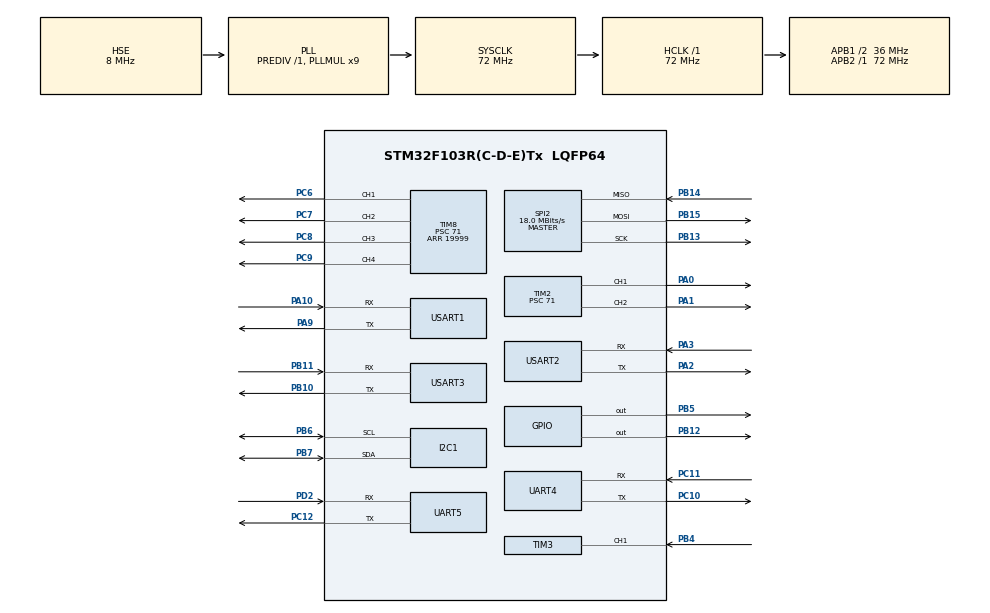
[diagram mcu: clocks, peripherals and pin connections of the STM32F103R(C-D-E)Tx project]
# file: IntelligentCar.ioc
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Mcu.Family=STM32F1
Mcu.Name=STM32F103R(C-D-E)Tx
Mcu.Package=LQFP64
NVIC.PriorityGroup=NVIC_PRIORITYGROUP_4
NVIC.USART2_IRQn=true\:0\:0\:false\:false\:true\:true\:true\:true
NVIC.USART3_IRQn=true\:0\:0\:false\:false\:true\:true\:true\:true
PA0-WKUP.Signal=S_TIM2_CH1_ETR
PA1.Signal=S_TIM2_CH2
PA10.Mode=Asynchronous
PA10.Signal=USART1_RX
PA13.Mode=Serial_Wire
PA13.Signal=SYS_JTMS-SWDIO
PA14.Mode=Serial_Wire
PA14.Signal=SYS_JTCK-SWCLK
PA2.Mode=Asynchronous
PA2.Signal=USART2_TX
PA3.Mode=Asynchronous
PA3.Signal=USART2_RX
PA9.Mode=Asynchronous
PA9.Signal=USART1_TX
PB10.Mode=Asynchronous
PB10.Signal=USART3_TX
PB11.Mode=Asynchronous
PB11.Signal=USART3_RX
PB12.Signal=GPIO_Output
PB13.Mode=Full_Duplex_Master
PB13.Signal=SPI2_SCK
PB14.Mode=Full_Duplex_Master
PB14.Signal=SPI2_MISO
PB15.Mode=Full_Duplex_Master
PB15.Signal=SPI2_MOSI
PB4.Signal=S_TIM3_CH1
PB5.Signal=GPIO_Output
PB6.Mode=I2C
PB6.Signal=I2C1_SCL
PB7.Mode=I2C
PB7.Signal=I2C1_SDA
PC10.Mode=Asynchronous
PC10.Signal=UART4_TX
PC11.Mode=Asynchronous
PC11.Signal=UART4_RX
PC12.Mode=Asynchronous
PC12.Signal=UART5_TX
PC6.Signal=S_TIM8_CH1
PC7.Signal=S_TIM8_CH2
PC8.Signal=S_TIM8_CH3
PC9.Signal=S_TIM8_CH4
PD0-OSC_IN.Mode=HSE-External-Oscillator
PD0-OSC_IN.Signal=RCC_OSC_IN
PD1-OSC_OUT.Mode=HSE-External-Oscillator
PD1-OSC_OUT.Signal=RCC_OSC_OUT
PD2.Mode=Asynchronous
PD2.Signal=UART5_RX
ProjectManager.HeapSize=0x200
ProjectManager.StackSize=0x400
ProjectManager.TargetToolchain=MDK-ARM V5.32
RCC.AHBFreq_Value=72000000
RCC.APB1CLKDivider=RCC_HCLK_DIV2
RCC.APB1Freq_Value=36000000
RCC.APB1TimFreq_Value=72000000
RCC.APB2Freq_Value=72000000
RCC.APB2TimFreq_Value=72000000
RCC.HCLKFreq_Value=72000000
RCC.PLLMUL=RCC_PLL_MUL9
RCC.PLLSourceVirtual=RCC_PLLSOURCE_HSE
RCC.SYSCLKFreq_VALUE=72000000
RCC.SYSCLKSource=RCC_SYSCLKSOURCE_PLLCLK
RCC.USBFreq_Value=72000000
SH.S_TIM2_CH1_ETR.0=TIM2_CH1,PWM Generation1 CH1
SH.S_TIM2_CH2.0=TIM2_CH2,PWM Generation2 CH2
SH.S_TIM3_CH1.0=TIM3_CH1,Input_Capture1_from_TI1
SH.S_TIM8_CH1.0=TIM8_CH1,PWM Generation1 CH1
SH.S_TIM8_CH2.0=TIM8_CH2,PWM Generation2 CH2
SH.S_TIM8_CH3.0=TIM8_CH3,PWM Generation3 CH3
SH.S_TIM8_CH4.0=TIM8_CH4,PWM Generation4 CH4
SPI2.CalculateBaudRate=18.0 MBits/s
SPI2.Direction=SPI_DIRECTION_2LINES
SPI2.Mode=SPI_MODE_MASTER
SPI2.VirtualType=VM_MASTER
TIM2.Channel-PWM\ Generation1\ CH1=TIM_CHANNEL_1
TIM2.Channel-PWM\ Generation2\ CH2=TIM_CHANNEL_2
TIM2.Period=19999
TIM2.Prescaler=71
TIM3.Channel-Input_Capture1_from_TI1=TIM_CHANNEL_1
TIM3.Channel-Input_Capture2_from_TI1_63=TIM_CHANNEL_2
TIM4.Period=99
TIM4.Prescaler=7199
TIM8.Channel-PWM\ Generation1\ CH1=TIM_CHANNEL_1
TIM8.Channel-PWM\ Generation2\ CH2=TIM_CHANNEL_2
TIM8.Channel-PWM\ Generation3\ CH3=TIM_CHANNEL_3
TIM8.Channel-PWM\ Generation4\ CH4=TIM_CHANNEL_4
TIM8.Period=19999
TIM8.Prescaler=71
UART4.VirtualMode=Asynchronous
UART5.VirtualMode=Asynchronous
USART1.VirtualMode=VM_ASYNC
USART2.VirtualMode=VM_ASYNC
USART3.VirtualMode=VM_ASYNC
VP_TIM2_VS_ClockSourceINT.Mode=Internal
VP_TIM3_VS_ClockSourceINT.Mode=Internal
VP_TIM3_VS_indirect_ch1.Mode=Input_Capture2_from_TI1_63
VP_TIM4_VS_ClockSourceINT.Mode=Internal
VP_TIM8_VS_ClockSourceINT.Mode=Internal
board=custom

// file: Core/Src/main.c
/* USER CODE BEGIN Header */
/**
  ******************************************************************************
  实现的功能：1.手姿控制小车运动
             2.按键/摇杆控制机械臂
             3.自动化实现动作组
             4.视觉识别自动搬运

    传感器引脚:
        超声波(Trig PB5 Echo PB4)
    舵机引脚：
        DJ0-PC6
        DJ1-PC7
        DJ2-PC8
        DJ3-PC9
        DJ4-PA0
        DJ5-PA1
    LED引脚：
        LED-PC13  开漏低电平点亮
    通信：
        串口1用作烧录和监听信息   PA9 TX1 PA10 RX1
        串口2用作openmv连接       PA2 TX2 PA3 RX2
        串口3用作蓝牙             PB10 TX3 PB11 RX3
        串口4用作控制总线电机     PC10 TX4 PC11 RX4
        串口5引出备用             PC12 TX5 PD2 RX5
    蓝牙状态：
        PB1

    主频：72M
    单片机型号：STM32F103RCT6
******************************************************************************
**/
/* USER CODE END Header */
#include "main.h"

/* USER CODE BEGIN Includes */
#include <stdio.h>
#include <string.h>
#include "global.h"
#include "uart.h"
#include "readdata.h"
#include "ik.h"
#include "motor.h"
#include "led.h"
#include "servo.h"
#include "mode.h"
#include "ag_config.h"
#include "actiongroup.h"
#include "flash.h"
#include "ultrasonic.h"
/* USER CODE END Includes */

I2C_HandleTypeDef hi2c1;

SPI_HandleTypeDef hspi2;

TIM_HandleTypeDef htim2;
TIM_HandleTypeDef htim3;
TIM_HandleTypeDef htim4;
TIM_HandleTypeDef htim8;

UART_HandleTypeDef huart4;
UART_HandleTypeDef huart5;
UART_HandleTypeDef huart1;
UART_HandleTypeDef huart2;
UART_HandleTypeDef huart3;

void SystemClock_Config(void);
static void MX_GPIO_Init(void);
static void MX_I2C1_Init(void);
static void MX_SPI2_Init(void);
static void MX_TIM2_Init(void);
static void MX_TIM3_Init(void);
static void MX_TIM8_Init(void);
static void MX_UART4_Init(void);
static void MX_UART5_Init(void);
static void MX_USART1_UART_Init(void);
static void MX_USART2_UART_Init(void);
static void MX_USART3_UART_Init(void);
static void MX_TIM4_Init(void);

int main(void)
{

  /* USER CODE BEGIN 1 */
 MODE mode;
  /* USER CODE END 1 */

  /* MCU Configuration--------------------------------------------------------*/

  /* Reset of all peripherals, Initializes the Flash interface and the Systick. */
  HAL_Init();

  /* Configure the system clock */
  SystemClock_Config();

  /* Initialize all configured peripherals */
  MX_GPIO_Init();
  MX_I2C1_Init();
  MX_SPI2_Init();
  MX_TIM2_Init();
  MX_TIM3_Init();
  MX_TIM8_Init();
  MX_UART4_Init();
  MX_UART5_Init();
  MX_USART1_UART_Init();
  MX_USART2_UART_Init();
  MX_USART3_UART_Init();
  MX_TIM4_Init();
  /* USER CODE BEGIN 2 */
  uart_init();
	servo_init();
  ActionGroup_Init();
  Ultrasonic_Init();
  /* USER CODE END 2 */

  /* Infinite loop */
  /* USER CODE BEGIN WHILE */
  while (1)
  {
    if(rxcplt_flag_Phone == 1){
          mode = readmode(RxData_Phone);
          rxcplt_flag_Phone = 0;
          ifrxstart_Phone = 0;

          switch (mode) {
              case mode1:
                  mode1_handle();
                  break;
              case mode2:
                  mode2_handle();
                  break;
              case mode3:
                  mode3_handle();
                  break;
              case mode4:
                  mode4_handle();
                  break;
              default:
                  break;
          }
      }
    /* USER CODE END WHILE */

  }
}

void SystemClock_Config(void)
{
  RCC_OscInitTypeDef RCC_OscInitStruct = {0};
  RCC_ClkInitTypeDef RCC_ClkInitStruct = {0};

  /** Initializes the RCC Oscillators according to the specified parameters
  * in the RCC_OscInitTypeDef structure.
  */
  RCC_OscInitStruct.OscillatorType = RCC_OSCILLATORTYPE_HSE;
  RCC_OscInitStruct.HSEState = RCC_HSE_ON;
  RCC_OscInitStruct.HSEPredivValue = RCC_HSE_PREDIV_DIV1;
  RCC_OscInitStruct.HSIState = RCC_HSI_ON;
  RCC_OscInitStruct.PLL.PLLState = RCC_PLL_ON;
  RCC_OscInitStruct.PLL.PLLSource = RCC_PLLSOURCE_HSE;
  RCC_OscInitStruct.PLL.PLLMUL = RCC_PLL_MUL9;
  if (HAL_RCC_OscConfig(&RCC_OscInitStruct) != HAL_OK)
  {
    Error_Handler();
  }

  /** Initializes the CPU, AHB and APB buses clocks
  */
  RCC_ClkInitStruct.ClockType = RCC_CLOCKTYPE_HCLK|RCC_CLOCKTYPE_SYSCLK
                              |RCC_CLOCKTYPE_PCLK1|RCC_CLOCKTYPE_PCLK2;
  RCC_ClkInitStruct.SYSCLKSource = RCC_SYSCLKSOURCE_PLLCLK;
  RCC_ClkInitStruct.AHBCLKDivider = RCC_SYSCLK_DIV1;
  RCC_ClkInitStruct.APB1CLKDivider = RCC_HCLK_DIV2;
  RCC_ClkInitStruct.APB2CLKDivider = RCC_HCLK_DIV1;

  if (HAL_RCC_ClockConfig(&RCC_ClkInitStruct, FLASH_LATENCY_2) != HAL_OK)
  {
    Error_Handler();
  }
}

static void MX_I2C1_Init(void)
{

  hi2c1.Instance = I2C1;
  hi2c1.Init.ClockSpeed = 100000;
  hi2c1.Init.DutyCycle = I2C_DUTYCYCLE_2;
  hi2c1.Init.OwnAddress1 = 0;
  hi2c1.Init.AddressingMode = I2C_ADDRESSINGMODE_7BIT;
  hi2c1.Init.DualAddressMode = I2C_DUALADDRESS_DISABLE;
  hi2c1.Init.OwnAddress2 = 0;
  hi2c1.Init.GeneralCallMode = I2C_GENERALCALL_DISABLE;
  hi2c1.Init.NoStretchMode = I2C_NOSTRETCH_DISABLE;
  if (HAL_I2C_Init(&hi2c1) != HAL_OK)
  {
    Error_Handler();
  }

}

static void MX_SPI2_Init(void)
{

  /* SPI2 parameter configuration*/
  hspi2.Instance = SPI2;
  hspi2.Init.Mode = SPI_MODE_MASTER;
  hspi2.Init.Direction = SPI_DIRECTION_2LINES;
  hspi2.Init.DataSize = SPI_DATASIZE_8BIT;
  hspi2.Init.CLKPolarity = SPI_POLARITY_LOW;
  hspi2.Init.CLKPhase = SPI_PHASE_1EDGE;
  hspi2.Init.NSS = SPI_NSS_SOFT;
  hspi2.Init.BaudRatePrescaler = SPI_BAUDRATEPRESCALER_2;
  hspi2.Init.FirstBit = SPI_FIRSTBIT_MSB;
  hspi2.Init.TIMode = SPI_TIMODE_DISABLE;
  hspi2.Init.CRCCalculation = SPI_CRCCALCULATION_DISABLE;
  hspi2.Init.CRCPolynomial = 10;
  if (HAL_SPI_Init(&hspi2) != HAL_OK)
  {
    Error_Handler();
  }

}

static void MX_TIM2_Init(void)
{

  TIM_ClockConfigTypeDef sClockSourceConfig = {0};
  TIM_MasterConfigTypeDef sMasterConfig = {0};
  TIM_OC_InitTypeDef sConfigOC = {0};

  htim2.Instance = TIM2;
  htim2.Init.Prescaler = 71;
  htim2.Init.CounterMode = TIM_COUNTERMODE_UP;
  htim2.Init.Period = 19999;
  htim2.Init.ClockDivision = TIM_CLOCKDIVISION_DIV1;
  htim2.Init.AutoReloadPreload = TIM_AUTORELOAD_PRELOAD_DISABLE;
  if (HAL_TIM_Base_Init(&htim2) != HAL_OK)
  {
    Error_Handler();
  }
  sClockSourceConfig.ClockSource = TIM_CLOCKSOURCE_INTERNAL;
  if (HAL_TIM_ConfigClockSource(&htim2, &sClockSourceConfig) != HAL_OK)
  {
    Error_Handler();
  }
  if (HAL_TIM_PWM_Init(&htim2) != HAL_OK)
  {
    Error_Handler();
  }
  sMasterConfig.MasterOutputTrigger = TIM_TRGO_RESET;
  sMasterConfig.MasterSlaveMode = TIM_MASTERSLAVEMODE_DISABLE;
  if (HAL_TIMEx_MasterConfigSynchronization(&htim2, &sMasterConfig) != HAL_OK)
  {
    Error_Handler();
  }
  sConfigOC.OCMode = TIM_OCMODE_PWM1;
  sConfigOC.Pulse = 0;
  sConfigOC.OCPolarity = TIM_OCPOLARITY_HIGH;
  sConfigOC.OCFastMode = TIM_OCFAST_DISABLE;
  if (HAL_TIM_PWM_ConfigChannel(&htim2, &sConfigOC, TIM_CHANNEL_1) != HAL_OK)
  {
    Error_Handler();
  }
  if (HAL_TIM_PWM_ConfigChannel(&htim2, &sConfigOC, TIM_CHANNEL_2) != HAL_OK)
  {
    Error_Handler();
  }
  HAL_TIM_MspPostInit(&htim2);

}

static void MX_TIM3_Init(void)
{

  TIM_ClockConfigTypeDef sClockSourceConfig = {0};
  TIM_MasterConfigTypeDef sMasterConfig = {0};
  TIM_IC_InitTypeDef sConfigIC = {0};

  htim3.Instance = TIM3;
  htim3.Init.Prescaler = 0;
  htim3.Init.CounterMode = TIM_COUNTERMODE_UP;
  htim3.Init.Period = 65535;
  htim3.Init.ClockDivision = TIM_CLOCKDIVISION_DIV1;
  htim3.Init.AutoReloadPreload = TIM_AUTORELOAD_PRELOAD_DISABLE;
  if (HAL_TIM_Base_Init(&htim3) != HAL_OK)
  {
    Error_Handler();
  }
  sClockSourceConfig.ClockSource = TIM_CLOCKSOURCE_INTERNAL;
  if (HAL_TIM_ConfigClockSource(&htim3, &sClockSourceConfig) != HAL_OK)
  {
    Error_Handler();
  }
  if (HAL_TIM_IC_Init(&htim3) != HAL_OK)
  {
    Error_Handler();
  }
  sMasterConfig.MasterOutputTrigger = TIM_TRGO_RESET;
  sMasterConfig.MasterSlaveMode = TIM_MASTERSLAVEMODE_DISABLE;
  if (HAL_TIMEx_MasterConfigSynchronization(&htim3, &sMasterConfig) != HAL_OK)
  {
    Error_Handler();
  }
  sConfigIC.ICPolarity = TIM_INPUTCHANNELPOLARITY_RISING;
  sConfigIC.ICSelection = TIM_ICSELECTION_DIRECTTI;
  sConfigIC.ICPrescaler = TIM_ICPSC_DIV1;
  sConfigIC.ICFilter = 0;
  if (HAL_TIM_IC_ConfigChannel(&htim3, &sConfigIC, TIM_CHANNEL_1) != HAL_OK)
  {
    Error_Handler();
  }
  sConfigIC.ICSelection = TIM_ICSELECTION_INDIRECTTI;
  if (HAL_TIM_IC_ConfigChannel(&htim3, &sConfigIC, TIM_CHANNEL_2) != HAL_OK)
  {
    Error_Handler();
  }

}

static void MX_TIM4_Init(void)
{

  TIM_ClockConfigTypeDef sClockSourceConfig = {0};
  TIM_MasterConfigTypeDef sMasterConfig = {0};

  htim4.Instance = TIM4;
  htim4.Init.Prescaler = 7199;
  htim4.Init.CounterMode = TIM_COUNTERMODE_UP;
  htim4.Init.Period = 99;
  htim4.Init.ClockDivision = TIM_CLOCKDIVISION_DIV1;
  htim4.Init.AutoReloadPreload = TIM_AUTORELOAD_PRELOAD_DISABLE;
  if (HAL_TIM_Base_Init(&htim4) != HAL_OK)
  {
    Error_Handler();
  }
  sClockSourceConfig.ClockSource = TIM_CLOCKSOURCE_INTERNAL;
  if (HAL_TIM_ConfigClockSource(&htim4, &sClockSourceConfig) != HAL_OK)
  {
    Error_Handler();
  }
  sMasterConfig.MasterOutputTrigger = TIM_TRGO_RESET;
  sMasterConfig.MasterSlaveMode = TIM_MASTERSLAVEMODE_DISABLE;
  if (HAL_TIMEx_MasterConfigSynchronization(&htim4, &sMasterConfig) != HAL_OK)
  {
    Error_Handler();
  }

}

static void MX_TIM8_Init(void)
{

  TIM_ClockConfigTypeDef sClockSourceConfig = {0};
  TIM_MasterConfigTypeDef sMasterConfig = {0};
  TIM_OC_InitTypeDef sConfigOC = {0};
  TIM_BreakDeadTimeConfigTypeDef sBreakDeadTimeConfig = {0};

  htim8.Instance = TIM8;
  htim8.Init.Prescaler = 71;
  htim8.Init.CounterMode = TIM_COUNTERMODE_UP;
  htim8.Init.Period = 19999;
  htim8.Init.ClockDivision = TIM_CLOCKDIVISION_DIV1;
  htim8.Init.RepetitionCounter = 0;
  htim8.Init.AutoReloadPreload = TIM_AUTORELOAD_PRELOAD_DISABLE;
  if (HAL_TIM_Base_Init(&htim8) != HAL_OK)
  {
    Error_Handler();
  }
  sClockSourceConfig.ClockSource = TIM_CLOCKSOURCE_INTERNAL;
  if (HAL_TIM_ConfigClockSource(&htim8, &sClockSourceConfig) != HAL_OK)
  {
    Error_Handler();
  }
  if (HAL_TIM_PWM_Init(&htim8) != HAL_OK)
  {
    Error_Handler();
  }
  sMasterConfig.MasterOutputTrigger = TIM_TRGO_RESET;
  sMasterConfig.MasterSlaveMode = TIM_MASTERSLAVEMODE_DISABLE;
  if (HAL_TIMEx_MasterConfigSynchronization(&htim8, &sMasterConfig) != HAL_OK)
  {
    Error_Handler();
  }
  sConfigOC.OCMode = TIM_OCMODE_PWM1;
  sConfigOC.Pulse = 0;
  sConfigOC.OCPolarity = TIM_OCPOLARITY_HIGH;
  sConfigOC.OCNPolarity = TIM_OCNPOLARITY_HIGH;
  sConfigOC.OCFastMode = TIM_OCFAST_DISABLE;
  sConfigOC.OCIdleState = TIM_OCIDLESTATE_RESET;
  sConfigOC.OCNIdleState = TIM_OCNIDLESTATE_RESET;
  if (HAL_TIM_PWM_ConfigChannel(&htim8, &sConfigOC, TIM_CHANNEL_1) != HAL_OK)
  {
    Error_Handler();
  }
  if (HAL_TIM_PWM_ConfigChannel(&htim8, &sConfigOC, TIM_CHANNEL_2) != HAL_OK)
  {
    Error_Handler();
  }
  if (HAL_TIM_PWM_ConfigChannel(&htim8, &sConfigOC, TIM_CHANNEL_3) != HAL_OK)
  {
    Error_Handler();
  }
  if (HAL_TIM_PWM_ConfigChannel(&htim8, &sConfigOC, TIM_CHANNEL_4) != HAL_OK)
  {
    Error_Handler();
  }
  sBreakDeadTimeConfig.OffStateRunMode = TIM_OSSR_DISABLE;
  sBreakDeadTimeConfig.OffStateIDLEMode = TIM_OSSI_DISABLE;
  sBreakDeadTimeConfig.LockLevel = TIM_LOCKLEVEL_OFF;
  sBreakDeadTimeConfig.DeadTime = 0;
  sBreakDeadTimeConfig.BreakState = TIM_BREAK_DISABLE;
  sBreakDeadTimeConfig.BreakPolarity = TIM_BREAKPOLARITY_HIGH;
  sBreakDeadTimeConfig.AutomaticOutput = TIM_AUTOMATICOUTPUT_DISABLE;
  if (HAL_TIMEx_ConfigBreakDeadTime(&htim8, &sBreakDeadTimeConfig) != HAL_OK)
  {
    Error_Handler();
  }
  HAL_TIM_MspPostInit(&htim8);

}

static void MX_UART4_Init(void)
{

  huart4.Instance = UART4;
  huart4.Init.BaudRate = 115200;
  huart4.Init.WordLength = UART_WORDLENGTH_8B;
  huart4.Init.StopBits = UART_STOPBITS_1;
  huart4.Init.Parity = UART_PARITY_NONE;
  huart4.Init.Mode = UART_MODE_TX_RX;
  huart4.Init.HwFlowCtl = UART_HWCONTROL_NONE;
  huart4.Init.OverSampling = UART_OVERSAMPLING_16;
  if (HAL_UART_Init(&huart4) != HAL_OK)
  {
    Error_Handler();
  }

}

static void MX_UART5_Init(void)
{

  huart5.Instance = UART5;
  huart5.Init.BaudRate = 115200;
  huart5.Init.WordLength = UART_WORDLENGTH_8B;
  huart5.Init.StopBits = UART_STOPBITS_1;
  huart5.Init.Parity = UART_PARITY_NONE;
  huart5.Init.Mode = UART_MODE_TX_RX;
  huart5.Init.HwFlowCtl = UART_HWCONTROL_NONE;
  huart5.Init.OverSampling = UART_OVERSAMPLING_16;
  if (HAL_UART_Init(&huart5) != HAL_OK)
  {
    Error_Handler();
  }

}

static void MX_USART1_UART_Init(void)
{

  huart1.Instance = USART1;
  huart1.Init.BaudRate = 115200;
  huart1.Init.WordLength = UART_WORDLENGTH_8B;
  huart1.Init.StopBits = UART_STOPBITS_1;
  huart1.Init.Parity = UART_PARITY_NONE;
  huart1.Init.Mode = UART_MODE_TX_RX;
  huart1.Init.HwFlowCtl = UART_HWCONTROL_NONE;
  huart1.Init.OverSampling = UART_OVERSAMPLING_16;
  if (HAL_UART_Init(&huart1) != HAL_OK)
  {
    Error_Handler();
  }

}

static void MX_USART2_UART_Init(void)
{

  huart2.Instance = USART2;
  huart2.Init.BaudRate = 115200;
  huart2.Init.WordLength = UART_WORDLENGTH_8B;
  huart2.Init.StopBits = UART_STOPBITS_1;
  huart2.Init.Parity = UART_PARITY_NONE;
  huart2.Init.Mode = UART_MODE_TX_RX;
  huart2.Init.HwFlowCtl = UART_HWCONTROL_NONE;
  huart2.Init.OverSampling = UART_OVERSAMPLING_16;
  if (HAL_UART_Init(&huart2) != HAL_OK)
  {
    Error_Handler();
  }

}

static void MX_USART3_UART_Init(void)
{

  huart3.Instance = USART3;
  huart3.Init.BaudRate = 115200;
  huart3.Init.WordLength = UART_WORDLENGTH_8B;
  huart3.Init.StopBits = UART_STOPBITS_1;
  huart3.Init.Parity = UART_PARITY_NONE;
  huart3.Init.Mode = UART_MODE_TX_RX;
  huart3.Init.HwFlowCtl = UART_HWCONTROL_NONE;
  huart3.Init.OverSampling = UART_OVERSAMPLING_16;
  if (HAL_UART_Init(&huart3) != HAL_OK)
  {
    Error_Handler();
  }

}

static void MX_GPIO_Init(void)
{
  GPIO_InitTypeDef GPIO_InitStruct = {0};

  /* GPIO Ports Clock Enable */
  __HAL_RCC_GPIOD_CLK_ENABLE();
  __HAL_RCC_GPIOA_CLK_ENABLE();
  __HAL_RCC_GPIOB_CLK_ENABLE();
  __HAL_RCC_GPIOC_CLK_ENABLE();

  /*Configure GPIO pin Output Level */
  HAL_GPIO_WritePin(GPIOB, GPIO_PIN_12|GPIO_PIN_5, GPIO_PIN_RESET);

  /*Configure GPIO pins : PB12 PB5 */
  GPIO_InitStruct.Pin = GPIO_PIN_12|GPIO_PIN_5;
  GPIO_InitStruct.Mode = GPIO_MODE_OUTPUT_PP;
  GPIO_InitStruct.Pull = GPIO_NOPULL;
  GPIO_InitStruct.Speed = GPIO_SPEED_FREQ_LOW;
  HAL_GPIO_Init(GPIOB, &GPIO_InitStruct);

}

/* USER CODE BEGIN 4 */
//  void HAL_GPIO_EXTI_Callback(uint16_t GPIO_Pin){//蓝牙断联处理
//  if(GPIO_Pin == GPIO_PIN_8){
//        servo_init();
//      motorspeed.LBsd = 0;
//      motorspeed.LFsd = 0;
//      motorspeed.RBsd = 0;
//      motorspeed.RFsd = 0;
//      SendmotorCmd();
//  }
//}
/* USER CODE END 4 */

void Error_Handler(void)
{
  __disable_irq();
  while (1)
  {
  }
}
